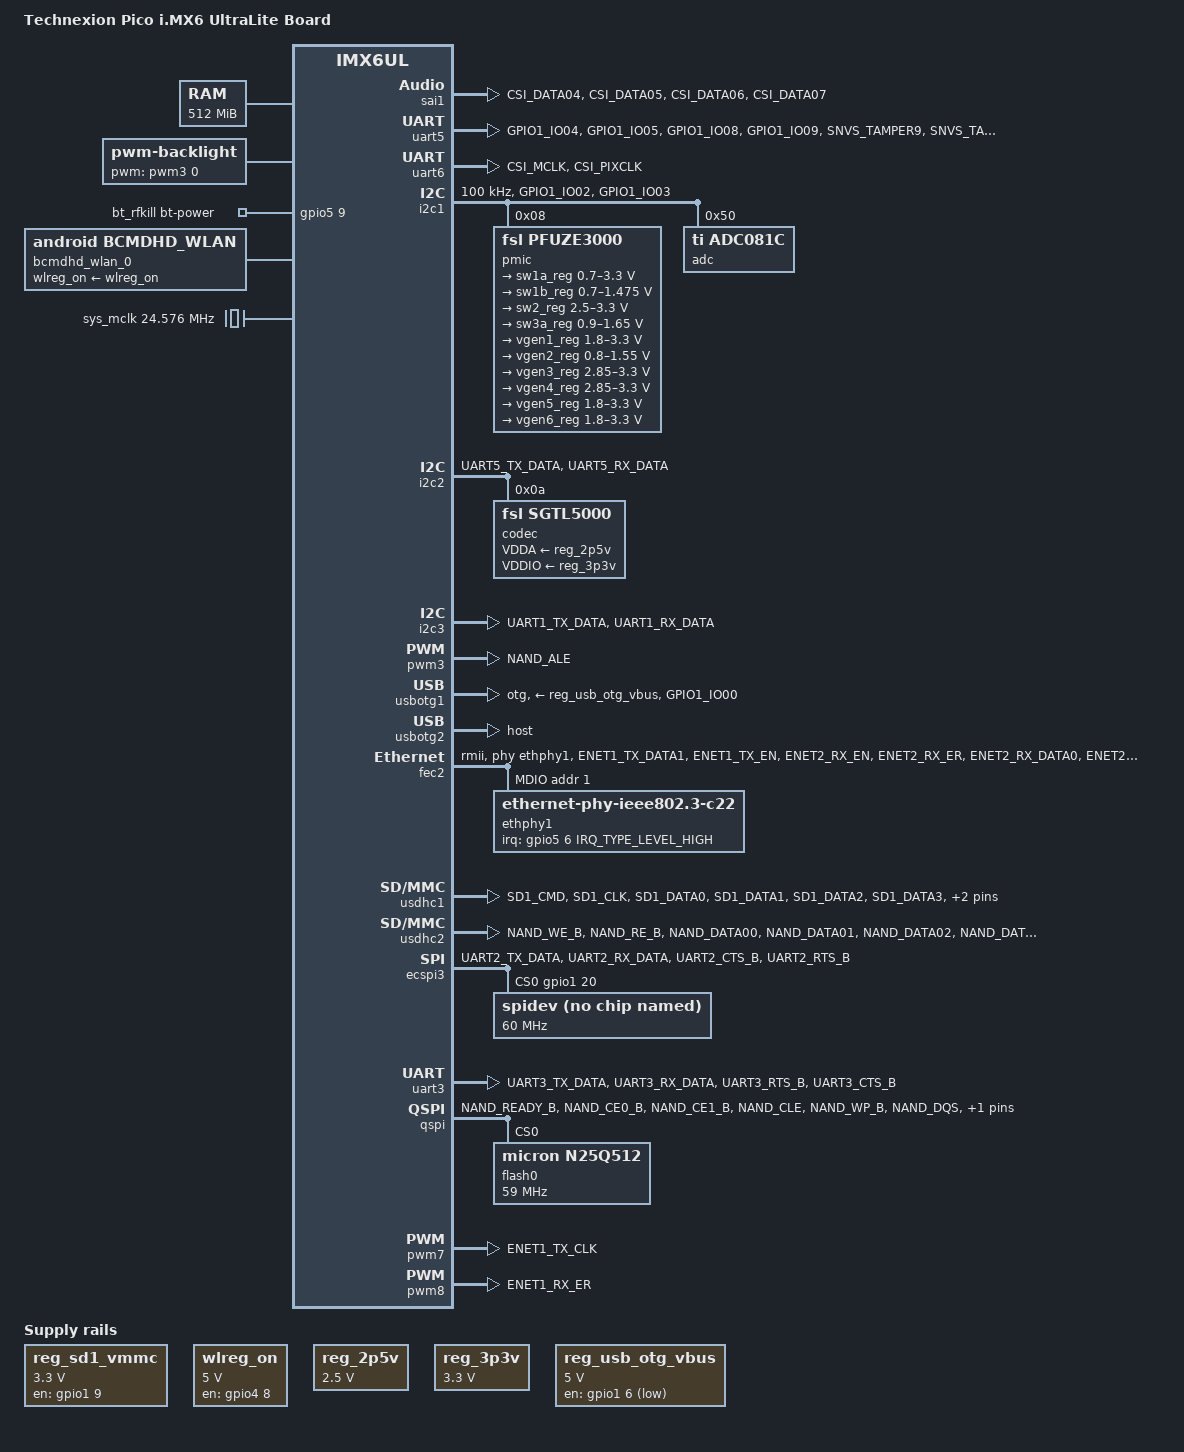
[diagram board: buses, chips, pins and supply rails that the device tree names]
/*
 * Copyright (C) 2016 Freescale Semiconductor, Inc.
 * Copyright 2017 NXP
 *
 * This program is free software; you can redistribute it and/or modify
 * it under the terms of the GNU General Public License version 2 as
 * published by the Free Software Foundation.
 */

/dts-v1/;

#include <dt-bindings/input/input.h>
#include "imx6ul.dtsi"

/ {
	model = "Technexion Pico i.MX6 UltraLite Board";
	compatible = "fsl,imx6ul-pico", "fsl,imx6ul";

	memory {
		reg = <0x80000000 0x20000000>;
	};

	chosen {
		stdout-path = &uart6;
	};

	backlight {
		compatible = "pwm-backlight";
		pwms = <&pwm3 0 5000000>;
		brightness-levels = <0 4 8 16 32 64 128 255>;
		default-brightness-level = <6>;
		status = "okay";
	};

	regulators {
		compatible = "simple-bus";
		#address-cells = <1>;
		#size-cells = <0>;

		reg_sd1_vmmc: regulator@1 {
			compatible = "regulator-fixed";
			regulator-name = "VSD_3V3";
			regulator-min-microvolt = <3300000>;
			regulator-max-microvolt = <3300000>;
			gpio = <&gpio1 9 GPIO_ACTIVE_HIGH>;
			enable-active-high;
			regulator-always-on;
		};

		wlreg_on: fixedregulator@100 {
			compatible = "regulator-fixed";
			regulator-min-microvolt = <5000000>;
			regulator-max-microvolt = <5000000>;
			regulator-name = "wlreg_on";
			gpio = <&gpio4 8 0>;
			startup-delay-us = <100>;
			enable-active-high;
		};

		reg_2p5v: 2p5v {
			compatible = "regulator-fixed";
			regulator-name = "2P5V";
			regulator-min-microvolt = <2500000>;
			regulator-max-microvolt = <2500000>;
			regulator-always-on;
		};

		reg_3p3v: 3p3v {
			compatible = "regulator-fixed";
			regulator-name = "3P3V";
			regulator-min-microvolt = <3300000>;
			regulator-max-microvolt = <3300000>;
			regulator-always-on;
		};

		reg_usb_otg_vbus: usb_otg_vbus {
			compatible = "regulator-fixed";
			pinctrl-names = "default";
			pinctrl-0 = <&pinctrl_usb_otg1>;
			regulator-name = "usb_otg_vbus";
			regulator-min-microvolt = <5000000>;
			regulator-max-microvolt = <5000000>;
			gpio = <&gpio1 6 0>;
		};
	};

	bt_rfkill {
		compatible = "fsl,mxc_bt_rfkill";
		bt-power-gpios = <&gpio5 9 0>;
		status ="okay";
	};

	bcmdhd_wlan_0: bcmdhd_wlan@0 {
		compatible = "android,bcmdhd_wlan";
		pinctrl-0 = <&pinctrl_wifi_ctrl>;
		wlreg_on-supply = <&wlreg_on>;
	};

	sound {
		compatible = "fsl,imx-audio-sgtl5000";
		model = "imx6ul-sgtl5000";
		audio-cpu = <&sai1>;
		audio-codec = <&codec>;
		audio-routing =
			"LINE_IN", "Line In Jack",
			"MIC_IN", "Mic Jack",
			"Mic Jack", "Mic Bias",
			"Headphone Jack", "HP_OUT";
	};

	clocks {
		sys_mclk: clock {
			compatible = "fixed-clock";
			#clock-cells = <0>;
			clock-frequency = <24576000>;
		};
	};

	external_gpio {
		pinctrl-names = "default";
		pinctrl-0 = <&pinctrl_gpio>;
		status = "okay";
	};

};

&cpu0 {
	/*
	 * on i.MX6UL, no seperated VDD_ARM_IN and VDD_SOC_IN,
	 * to align with other platform and use the same cpufreq
	 * driver, still use the seperated OPP define for arm
	 * and soc.
	 */
	operating-points = <
		/* kHz	uV */
		528000	1175000
		396000	1175000
		198000	1175000
	>;
	fsl,soc-operating-points = <
		/* KHz	uV */
		528000	1175000
		396000	1175000
		198000	1175000
	>;
	arm-supply = <&sw1b_reg>;
	soc-supply = <&sw1b_reg>;
	fsl,arm-soc-shared = <1>;
};

&clks {
	assigned-clocks = <&clks IMX6UL_CLK_PLL4_AUDIO_DIV>;
	assigned-clock-rates = <786432000>;
};

&sai1 {
	pinctrl-names = "default";
	pinctrl-0 = <&pinctrl_sai1>;
	status = "okay";
};

&csi {
	status = "disabled";
};

&gpc {
	fsl,cpu_pupscr_sw2iso = <0x1>;
	fsl,cpu_pupscr_sw = <0x0>;
	fsl,cpu_pdnscr_iso2sw = <0x1>;
	fsl,cpu_pdnscr_iso = <0x1>;
	fsl,wdog-reset = <1>; /* watchdog select of reset source */
	fsl,ldo-bypass = <0>; /* DCDC, ldo-enable */
};

&uart5 { /* Bluetooth */
	pinctrl-names = "default";
	pinctrl-0 = <&pinctrl_uart5 &pinctrl_bt_ctrl>;
	fsl,uart-has-rtscts;
	status = "okay";
};

&uart6 {
	pinctrl-names = "default";
	pinctrl-0 = <&pinctrl_uart6>;
	status = "okay";
};

&i2c1 {
	clock-frequency = <100000>;
	pinctrl-names = "default";
	pinctrl-0 = <&pinctrl_i2c1>;
	status = "okay";

	pmic: pfuze3000@08 {
		compatible = "fsl,pfuze3000";
		reg = <0x08>;

		regulators {
			sw1a_reg: sw1a {
				regulator-min-microvolt = <700000>;
				regulator-max-microvolt = <3300000>;
				regulator-boot-on;
				regulator-always-on;
				regulator-ramp-delay = <6250>;
			};

			/* VDD_ARM_SOC_IN*/
			sw1b_reg: sw1b {
				regulator-min-microvolt = <700000>;
				regulator-max-microvolt = <1475000>;
				regulator-boot-on;
				regulator-always-on;
				regulator-ramp-delay = <6250>;
			};

			sw2_reg: sw2 {
				regulator-min-microvolt = <2500000>;
				regulator-max-microvolt = <3300000>;
				regulator-boot-on;
				regulator-always-on;
			};

			/* DRAM */
			sw3a_reg: sw3 {
				regulator-min-microvolt = <900000>;
				regulator-max-microvolt = <1650000>;
				regulator-boot-on;
				regulator-always-on;
			};

			/* DRAM */
			vref_reg: vrefddr {
				regulator-boot-on;
				regulator-always-on;
			};

			vgen1_reg: vldo1 {
				regulator-min-microvolt = <1800000>;
				regulator-max-microvolt = <3300000>;
				regulator-always-on;
			};

			vgen2_reg: vldo2 {
				regulator-min-microvolt = <800000>;
				regulator-max-microvolt = <1550000>;
				regulator-always-on;
			};

			vgen3_reg: vccsd {
				regulator-min-microvolt = <2850000>;
				regulator-max-microvolt = <3300000>;
				regulator-always-on;
			};

			vgen4_reg: v33 {
				regulator-min-microvolt = <2850000>;
				regulator-max-microvolt = <3300000>;
				regulator-always-on;
			};

			vgen5_reg: vldo3 {
				regulator-min-microvolt = <1800000>;
				regulator-max-microvolt = <3300000>;
				regulator-always-on;
			};

			vgen6_reg: vldo4 {
				regulator-min-microvolt = <1800000>;
				regulator-max-microvolt = <3300000>;
				regulator-always-on;
			};
		};
	};

	adc: adc081c@50 {
		compatible = "ti,adc081c";
		reg = <0x50>;
	};
};

&i2c2 {
	clock_frequency = <100000>;
	pinctrl-names = "default";
	pinctrl-0 = <&pinctrl_i2c2>;
	status = "okay";

	codec: sgtl5000@0a {
		compatible = "fsl,sgtl5000";
		reg = <0x0a>;
		clocks = <&sys_mclk 1>;
		VDDA-supply = <&reg_2p5v>;
		VDDIO-supply = <&reg_3p3v>;
	};
};

&i2c3 {
	clock_frequency = <100000>;
	pinctrl-names = "default";
	pinctrl-0 = <&pinctrl_i2c3>;
	status = "okay";
};

&iomuxc {
	pinctrl-names = "default";
	pico-imx6ul {
		pinctrl_uart5: uart5grp {
			fsl,pins = <
				MX6UL_PAD_GPIO1_IO04__UART5_DCE_TX	0x1b0b1
				MX6UL_PAD_GPIO1_IO05__UART5_DCE_RX	0x1b0b1
				MX6UL_PAD_GPIO1_IO08__UART5_DCE_RTS	0x1b0b1
				MX6UL_PAD_GPIO1_IO09__UART5_DCE_CTS	0x1b0b1
			>;
		};

		pinctrl_uart6: uart6grp {
			fsl,pins = <
				MX6UL_PAD_CSI_MCLK__UART6_DCE_TX	0x1b0b1
				MX6UL_PAD_CSI_PIXCLK__UART6_DCE_RX	0x1b0b1
			>;
		};

		pinctrl_usdhc1: usdhc1grp {
			fsl,pins = <
				MX6UL_PAD_SD1_CMD__USDHC1_CMD     0x17059
				MX6UL_PAD_SD1_CLK__USDHC1_CLK     0x10071
				MX6UL_PAD_SD1_DATA0__USDHC1_DATA0 0x17059
				MX6UL_PAD_SD1_DATA1__USDHC1_DATA1 0x17059
				MX6UL_PAD_SD1_DATA2__USDHC1_DATA2 0x17059
				MX6UL_PAD_SD1_DATA3__USDHC1_DATA3 0x17059
				MX6UL_PAD_UART1_RTS_B__GPIO1_IO19 0x03029
			>;
		};

		pinctrl_i2c1: i2c1grp {
			fsl,pins = <
				MX6UL_PAD_GPIO1_IO02__I2C1_SCL	0x4001b8b0
				MX6UL_PAD_GPIO1_IO03__I2C1_SDA	0x4001b8b0
			>;
		};

		pinctrl_i2c2: i2c2grp {
			fsl,pins = <
				MX6UL_PAD_UART5_TX_DATA__I2C2_SCL 0x4001b8b0
				MX6UL_PAD_UART5_RX_DATA__I2C2_SDA 0x4001b8b0
			>;
		};

		pinctrl_i2c3: i2c3grp {
			fsl,pins = <
				MX6UL_PAD_UART1_TX_DATA__I2C3_SCL 0x4001b8b0
				MX6UL_PAD_UART1_RX_DATA__I2C3_SDA 0x4001b8b0
			>;
		};

		pinctrl_wifi_ctrl: wifi_ctrlgrp {
			fsl,pins = <
				MX6UL_PAD_NAND_DATA06__GPIO4_IO08 0x03029 /* wifi-reg-on */
				MX6UL_PAD_NAND_DATA04__GPIO4_IO06 0x79    /* wifi-host-wake */
			>;
		};

		pinctrl_bt_ctrl: bt_ctrlgrp {
			fsl,pins = <
				MX6UL_PAD_SNVS_TAMPER9__GPIO5_IO09   0x79   /* bluetooth-reg-on */
				MX6UL_PAD_SNVS_TAMPER8__GPIO5_IO08   0x79   /* bluetooth-wake */
				MX6UL_PAD_NAND_DATA05__GPIO4_IO07    0x79   /* bluetooth-host-wake */
			>;
		};

		pinctrl_lcdif_dat: lcdifdatgrp {
			fsl,pins = <
				MX6UL_PAD_LCD_DATA00__LCDIF_DATA00  0x79
				MX6UL_PAD_LCD_DATA01__LCDIF_DATA01  0x79
				MX6UL_PAD_LCD_DATA02__LCDIF_DATA02  0x79
				MX6UL_PAD_LCD_DATA03__LCDIF_DATA03  0x79
				MX6UL_PAD_LCD_DATA04__LCDIF_DATA04  0x79
				MX6UL_PAD_LCD_DATA05__LCDIF_DATA05  0x79
				MX6UL_PAD_LCD_DATA06__LCDIF_DATA06  0x79
				MX6UL_PAD_LCD_DATA07__LCDIF_DATA07  0x79
				MX6UL_PAD_LCD_DATA08__LCDIF_DATA08  0x79
				MX6UL_PAD_LCD_DATA09__LCDIF_DATA09  0x79
				MX6UL_PAD_LCD_DATA10__LCDIF_DATA10  0x79
				MX6UL_PAD_LCD_DATA11__LCDIF_DATA11  0x79
				MX6UL_PAD_LCD_DATA12__LCDIF_DATA12  0x79
				MX6UL_PAD_LCD_DATA13__LCDIF_DATA13  0x79
				MX6UL_PAD_LCD_DATA14__LCDIF_DATA14  0x79
				MX6UL_PAD_LCD_DATA15__LCDIF_DATA15  0x79
				MX6UL_PAD_LCD_DATA16__LCDIF_DATA16  0x79
				MX6UL_PAD_LCD_DATA17__LCDIF_DATA17  0x79
				MX6UL_PAD_LCD_DATA18__LCDIF_DATA18  0x79
				MX6UL_PAD_LCD_DATA19__LCDIF_DATA19  0x79
				MX6UL_PAD_LCD_DATA20__LCDIF_DATA20  0x79
				MX6UL_PAD_LCD_DATA21__LCDIF_DATA21  0x79
				MX6UL_PAD_LCD_DATA22__LCDIF_DATA22  0x79
				MX6UL_PAD_LCD_DATA23__LCDIF_DATA23  0x79
			>;
		};

		pinctrl_lcdif_ctrl: lcdifctrlgrp {
			fsl,pins = <
				MX6UL_PAD_LCD_CLK__LCDIF_CLK	    0x79
				MX6UL_PAD_LCD_ENABLE__LCDIF_ENABLE  0x79
				MX6UL_PAD_LCD_HSYNC__LCDIF_HSYNC    0x79
				MX6UL_PAD_LCD_VSYNC__LCDIF_VSYNC    0x79
				/* used for lcd reset */
				MX6UL_PAD_SNVS_TAMPER9__GPIO5_IO09  0x79
			>;
		};

		pinctrl_gpmi_nand: gpmi-nand {
			fsl,pins = <
				MX6UL_PAD_NAND_CLE__RAWNAND_CLE         0xb0b1
				MX6UL_PAD_NAND_ALE__RAWNAND_ALE         0xb0b1
				MX6UL_PAD_NAND_WP_B__RAWNAND_WP_B       0xb0b1
				MX6UL_PAD_NAND_READY_B__RAWNAND_READY_B 0xb000
				MX6UL_PAD_NAND_CE0_B__RAWNAND_CE0_B     0xb0b1
				MX6UL_PAD_NAND_RE_B__RAWNAND_RE_B       0xb0b1
				MX6UL_PAD_NAND_WE_B__RAWNAND_WE_B       0xb0b1
				MX6UL_PAD_NAND_DATA00__RAWNAND_DATA00   0xb0b1
				MX6UL_PAD_NAND_DATA01__RAWNAND_DATA01   0xb0b1
				MX6UL_PAD_NAND_DATA02__RAWNAND_DATA02   0xb0b1
				MX6UL_PAD_NAND_DATA03__RAWNAND_DATA03   0xb0b1
				MX6UL_PAD_NAND_DATA04__RAWNAND_DATA04   0xb0b1
				MX6UL_PAD_NAND_DATA05__RAWNAND_DATA05   0xb0b1
				MX6UL_PAD_NAND_DATA06__RAWNAND_DATA06   0xb0b1
				MX6UL_PAD_NAND_DATA07__RAWNAND_DATA07   0xb0b1
			>;
		};

		pinctrl_enet2: enet2grp {
			fsl,pins = <
				MX6UL_PAD_ENET1_TX_DATA1__ENET2_MDIO	0x1b0b0
				MX6UL_PAD_ENET1_TX_EN__ENET2_MDC	0x1b0b0
				MX6UL_PAD_ENET2_RX_EN__ENET2_RX_EN	0x1b0b0
				MX6UL_PAD_ENET2_RX_ER__ENET2_RX_ER	0x1b0b0
//				MX6UL_PAD_ENET2_RX_ER__GPIO2_IO15	0x1b0b0
				MX6UL_PAD_ENET2_RX_DATA0__ENET2_RDATA00	0x1b0b0
				MX6UL_PAD_ENET2_RX_DATA1__ENET2_RDATA01	0x1b0b0
				MX6UL_PAD_ENET2_TX_EN__ENET2_TX_EN	0x1b0b0
				MX6UL_PAD_ENET2_TX_DATA0__ENET2_TDATA00	0x1b0b0
				MX6UL_PAD_ENET2_TX_DATA1__ENET2_TDATA01	0x1b0b0
				MX6UL_PAD_ENET2_TX_CLK__ENET2_REF_CLK2	0x4001b031
				MX6UL_PAD_SNVS_TAMPER6__GPIO5_IO06	0x80000000
				MX6UL_PAD_UART4_TX_DATA__GPIO1_IO28	0x79
			>;
		};

		pinctrl_usdhc2: usdhc2grp {
			fsl,pins = <
				MX6UL_PAD_NAND_WE_B__USDHC2_CMD		0x17059
				MX6UL_PAD_NAND_RE_B__USDHC2_CLK		0x10059
				MX6UL_PAD_NAND_DATA00__USDHC2_DATA0	0x17059
				MX6UL_PAD_NAND_DATA01__USDHC2_DATA1	0x17059
				MX6UL_PAD_NAND_DATA02__USDHC2_DATA2	0x17059
				MX6UL_PAD_NAND_DATA03__USDHC2_DATA3	0x17059
			>;
		};

		pinctrl_sai1: sai1grp {
			fsl,pins = <
				MX6UL_PAD_CSI_DATA04__SAI1_TX_SYNC     0x1b0b0
				MX6UL_PAD_CSI_DATA05__SAI1_TX_BCLK     0x1b0b0
				MX6UL_PAD_CSI_DATA06__SAI1_RX_DATA     0x110b0
				MX6UL_PAD_CSI_DATA07__SAI1_TX_DATA     0x1f0b8
			>;
		};

		pinctrl_ecspi3: ecspi3grp {
			fsl,pins = <
//				MX6UL_PAD_UART2_TX_DATA__ECSPI3_SS0	0x10b0
				MX6UL_PAD_UART2_TX_DATA__GPIO1_IO20	0x10b0
				MX6UL_PAD_UART2_RX_DATA__ECSPI3_SCLK	0x10b0
				MX6UL_PAD_UART2_CTS_B__ECSPI3_MOSI	0x10b0
				MX6UL_PAD_UART2_RTS_B__ECSPI3_MISO	0x10b0
			>;
		};

		pinctrl_flexcan1: flexcan1grp {
			fsl,pins = <
				MX6UL_PAD_ENET1_RX_DATA0__FLEXCAN1_TX	0x1b020
				MX6UL_PAD_ENET1_RX_DATA1__FLEXCAN1_RX	0x1b020
			>;
		};

		pinctrl_flexcan2: flexcan2grp {
			fsl,pins = <
				MX6UL_PAD_ENET1_TX_DATA0__FLEXCAN2_RX	0x1b020
				MX6UL_PAD_ENET1_RX_EN__FLEXCAN2_TX	0x1b020
			>;
		};

		pinctrl_uart3: uart3grp {
			fsl,pins = <
				MX6UL_PAD_UART3_TX_DATA__UART3_DCE_TX	0x1b0b0
				MX6UL_PAD_UART3_RX_DATA__UART3_DCE_RX	0x1b0b0
				MX6UL_PAD_UART3_RTS_B__UART3_DCE_RTS	0x1b0b0
				MX6UL_PAD_UART3_CTS_B__UART3_DCE_CTS	0x1b0b0
			>;
		};

		pinctrl_pwm3: pwm3grp {
			fsl,pins = <
				MX6UL_PAD_NAND_ALE__PWM3_OUT	0x110b0
			>;
		};

		pinctrl_usb_otg1_id: usbotg1idgrp {
			fsl,pins = <
				MX6UL_PAD_GPIO1_IO00__ANATOP_OTG1_ID	0x17059
			>;
		};
		pinctrl_usb_otg1: usbotg1grp {
			fsl,pins = <
				MX6UL_PAD_GPIO1_IO06__GPIO1_IO06        0x10b0
			>;
		};

		pinctrl_qspi: qspigrp {
			fsl,pins = <
				MX6UL_PAD_NAND_READY_B__QSPI_A_DATA00 0x70a1
				MX6UL_PAD_NAND_CE0_B__QSPI_A_DATA01   0x70a1
				MX6UL_PAD_NAND_CE1_B__QSPI_A_DATA02   0x70a1
				MX6UL_PAD_NAND_CLE__QSPI_A_DATA03     0x70a1
				MX6UL_PAD_NAND_WP_B__QSPI_A_SCLK      0x70a1
				MX6UL_PAD_NAND_DQS__QSPI_A_SS0_B      0x70a1
				MX6UL_PAD_NAND_DATA07__QSPI_A_SS1_B   0x70a1
			>;
		};
		pinctrl_pwm7: pwm7grp {
			fsl,pins = <
				MX6UL_PAD_ENET1_TX_CLK__PWM7_OUT	0x110b0
			>;
		};

		pinctrl_pwm8: pwm8grp {
			fsl,pins = <
				MX6UL_PAD_ENET1_RX_ER__PWM8_OUT	0x110b0
			>;
		};

		pinctrl_gpio: gpiogrp {
			fsl,pins = <
				MX6UL_PAD_CSI_VSYNC__GPIO4_IO19 0x79
				MX6UL_PAD_CSI_HSYNC__GPIO4_IO20 0x79
				MX6UL_PAD_CSI_DATA00__GPIO4_IO21 0x79
				MX6UL_PAD_CSI_DATA01__GPIO4_IO22 0x79
				MX6UL_PAD_CSI_DATA02__GPIO4_IO23 0x79
				MX6UL_PAD_CSI_DATA03__GPIO4_IO24 0x79
				MX6UL_PAD_CSI_PIXCLK__GPIO4_IO18 0x79
				MX6UL_PAD_SNVS_TAMPER2__GPIO5_IO02 0x79
				MX6UL_PAD_UART1_CTS_B__GPIO1_IO18 0x79
				MX6UL_PAD_ENET1_RX_DATA0__GPIO2_IO00 0x79
				MX6UL_PAD_ENET1_RX_DATA1__GPIO2_IO01 0x79
				MX6UL_PAD_ENET1_RX_EN__GPIO2_IO02 0x79
				MX6UL_PAD_ENET1_TX_DATA0__GPIO2_IO03 0x79
			>;
		};

	};
};

&pwm3 {
	pinctrl-names = "default";
	pinctrl-0 = <&pinctrl_pwm3>;
	clocks = <&clks IMX6UL_CLK_PWM3>,
		 <&clks IMX6UL_CLK_PWM3>;
	status = "okay";
};

&usbotg1 {
	vbus-supply = <&reg_usb_otg_vbus>;
	pinctrl-names = "default";
	pinctrl-0 = <&pinctrl_usb_otg1_id>;
	dr_mode = "otg";
	hnp-disable;
	srp-disable;
	adp-disable;
	disable-over-current;
	status = "okay";
};

&usbotg2 {
	dr_mode = "host";
	disable-over-current;
	status = "okay";
};

&lcdif {
	pinctrl-names = "default";
	pinctrl-0 = <&pinctrl_lcdif_dat
		     &pinctrl_lcdif_ctrl>;
	display = <&display0>;
	status = "disabled";

	display0: display {
		bits-per-pixel = <32>;
		bus-width = <24>;

		display-timings {
			native-mode = <&timing0>;
			timing0: timing0 {
			clock-frequency = <33200000>;
			hactive = <800>;
			vactive = <480>;
			hfront-porch = <210>;
			hback-porch = <46>;
			hsync-len = <1>;
			vback-porch = <22>;
			vfront-porch = <23>;
			vsync-len = <1>;

			hsync-active = <0>;
			vsync-active = <0>;
			de-active = <1>;
			pixelclk-active = <0>;
			};
		};
	};
};

&gpmi {
	pinctrl-names = "default";
	pinctrl-0 = <&pinctrl_gpmi_nand>;
	status = "disabled";
	nand-on-flash-bbt;
};


&fec2 {
	pinctrl-names = "default";
	pinctrl-0 = <&pinctrl_enet2>;
	phy-mode = "rmii";
	phy-handle = <&ethphy1>;
	status = "okay";
	phy-reset-gpios = <&gpio2 15 GPIO_ACTIVE_LOW>;
	phy-reset-duration = <11>;

	mdio {
		#address-cells = <1>;
		#size-cells = <0>;

		ethphy1: ethernet-phy@1 {
			compatible = "ethernet-phy-ieee802.3-c22";
			reg = <1>;
			max-speed = <100>;
			interrupt-parent = <&gpio5>;
			interrupts = <6 IRQ_TYPE_LEVEL_HIGH 0>;
		};
	};
};


&usdhc1 {  /* Baseboard microSD slot */
	pinctrl-names = "default";
	pinctrl-0 = <&pinctrl_usdhc1>;
	no-1-8-v;
	keep-power-in-suspend;
	cd-gpios = <&gpio1 19 0>;
	status = "okay";
};

&usdhc2 {  /* Wifi SDIO */
	pinctrl-names = "default";
	pinctrl-0 = <&pinctrl_usdhc2>;
	no-1-8-v;
	wifi-host;
	pm-ignore-notify;
	keep-power-in-suspend;
	enable-sdio-wakeup;
	status = "okay";
};

&ecspi3 {
	fsl,spi-num-chipselects = <1>;
	cs-gpios = <&gpio1 20 GPIO_ACTIVE_HIGH>;
	pinctrl-names = "default";
	pinctrl-0 = <&pinctrl_ecspi3>;
	status = "okay";

	spidev@0 {
		compatible = "rohm,dh2228fv";
		spi-max-frequency = <60000000>;
		reg = <0>;
	};
};

&can1 {
	pinctrl-names = "default";
	pinctrl-0 = <&pinctrl_flexcan1>;
	status = "disabled";
};

&can2 {
	pinctrl-names = "default";
	pinctrl-0 = <&pinctrl_flexcan2>;
	status = "disabled";
};

&uart3 {
	pinctrl-names = "default";
	pinctrl-0 = <&pinctrl_uart3>;
	fsl,uart-has-rtscts;
	status = "okay";
};

&qspi {
	pinctrl-names = "default";
	pinctrl-0 = <&pinctrl_qspi>;
	status = "okay";
	fsl,qspi-has-second-chip = <1>;
	ddrsmp=<0>;

	flash0: mt25q512@0 {
		#address-cells = <1>;
		#size-cells = <1>;
		compatible = "micron,n25q512";
		spi-max-frequency = <59000000>;
		spi-nor,ddr-quad-read-dummy = <6>;
		reg = <0>;
	};
};

&pwm1 {
	clocks = <&clks IMX6UL_CLK_DUMMY>,
		 <&clks IMX6UL_CLK_DUMMY>;
};

&pwm7 {
	pinctrl-names = "default";
	pinctrl-0 = <&pinctrl_pwm7>;
	clocks = <&clks IMX6UL_CLK_PWM7>,
		 <&clks IMX6UL_CLK_PWM7>;
	status = "okay";
};

&pwm8 {
	pinctrl-names = "default";
	pinctrl-0 = <&pinctrl_pwm8>;
	clocks = <&clks IMX6UL_CLK_PWM8>,
		 <&clks IMX6UL_CLK_PWM8>;
	status = "okay";
};
